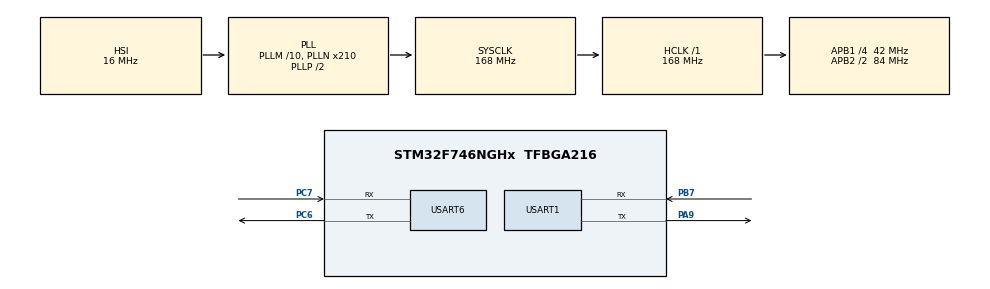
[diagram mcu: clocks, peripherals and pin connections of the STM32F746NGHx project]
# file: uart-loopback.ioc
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Mcu.Family=STM32F7
RCC.PLLSourceVirtual=RCC_PLLSOURCE_HSI
RCC.CortexFreq_Value=168000000
PC6.Signal=USART6_TX
RCC.APB1CLKDivider=RCC_HCLK_DIV4
RCC.SYSCLKSource=RCC_SYSCLKSOURCE_PLLCLK
ProjectManager.StackSize=0x400
USART1.VirtualMode-Asynchronous=VM_ASYNC
PA9.Mode=Asynchronous
ProjectManager.TargetToolchain=STM32CubeIDE
PC6.Mode=Asynchronous
RCC.HCLKFreq_Value=168000000
RCC.APB2TimFreq_Value=168000000
PA9.Signal=USART1_TX
PC7.Signal=USART6_RX
USART6.VirtualMode-Asynchronous=VM_ASYNC
RCC.USBFreq_Value=168000000
RCC.LSE_VALUE=32768
RCC.AHBFreq_Value=168000000
RCC.HSE_VALUE=25000000
board=STM32F746G-DISCO
RCC.VCOOutputFreq_Value=336000000
RCC.APB2Freq_Value=84000000
PB7.Signal=USART1_RX
Mcu.Name=STM32F746NGHx
RCC.SYSCLKFreq_VALUE=168000000
Mcu.Package=TFBGA216
PB7.Mode=Asynchronous
ProjectManager.HeapSize=0x200
RCC.HSI_VALUE=16000000
NVIC.PriorityGroup=NVIC_PRIORITYGROUP_4
RCC.APB2CLKDivider=RCC_HCLK_DIV2
RCC.PLLM=10
RCC.PLLN=210
RCC.APB1TimFreq_Value=84000000
PC7.Mode=Asynchronous
NVIC.USART1_IRQn=true\:0\:0\:false\:false\:true\:true\:true
RCC.APB1Freq_Value=42000000

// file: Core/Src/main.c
/* USER CODE BEGIN Header */
/**
  ******************************************************************************
  * @file           : main.c
  * @brief          : Main program body
  ******************************************************************************
  * @attention
  *
  * <h2><center>&copy; Copyright (c) 2021 STMicroelectronics.
  * All rights reserved.</center></h2>
  *
  * This software component is licensed by ST under BSD 3-Clause license,
  * the "License"; You may not use this file except in compliance with the
  * License. You may obtain a copy of the License at:
  *                        opensource.org/licenses/BSD-3-Clause
  *
  ******************************************************************************
  */
/* USER CODE END Header */
#include "main.h"

/* USER CODE BEGIN Includes */
#include <stdio.h>
/* USER CODE END Includes */

UART_HandleTypeDef huart1;
UART_HandleTypeDef huart6;

/* USER CODE BEGIN PV */
int data_count;
/* USER CODE END PV */

void SystemClock_Config(void);
static void MX_GPIO_Init(void);
static void MX_USART1_UART_Init(void);
static void MX_USART6_UART_Init(void);

/* USER CODE BEGIN 0 */
int _write(int file, char *ptr, int len)
{
    for(int i=0; i<len; i++)
    {
        ITM_SendChar((*ptr++));
    }
    return len;
}
/* USER CODE END 0 */

int main(void)
{
  /* USER CODE BEGIN 1 */
	uint8_t tx_data = 0xA;
	uint8_t rx_data;
  /* USER CODE END 1 */

  /* MCU Configuration--------------------------------------------------------*/

  /* Reset of all peripherals, Initializes the Flash interface and the Systick. */
  HAL_Init();

  /* Configure the system clock */
  SystemClock_Config();

  /* Initialize all configured peripherals */
  MX_GPIO_Init();
  MX_USART1_UART_Init();
  MX_USART6_UART_Init();

  /* Infinite loop */
  /* USER CODE BEGIN WHILE */
  while (1)
  {
	  rx_data = 0;
	  HAL_UART_Transmit(&huart6, (uint8_t*)&tx_data, 1, HAL_MAX_DELAY);
	  HAL_Delay(50);
	  HAL_UART_Receive(&huart6, (uint8_t*)&rx_data, 1, 500);
	  if (rx_data == tx_data)
	  {
		  HAL_UART_Transmit(&huart1, (uint8_t*)"OK\r\n", 4, HAL_MAX_DELAY);
	  }
	  else
	  {
		  HAL_UART_Transmit(&huart1, (uint8_t*)"NOK\r\n", 5, HAL_MAX_DELAY);
	  }
	  HAL_Delay(1000);
    /* USER CODE END WHILE */

  }
}

void SystemClock_Config(void)
{
  RCC_OscInitTypeDef RCC_OscInitStruct = {0};
  RCC_ClkInitTypeDef RCC_ClkInitStruct = {0};
  RCC_PeriphCLKInitTypeDef PeriphClkInitStruct = {0};

  /** Configure the main internal regulator output voltage
  */
  __HAL_RCC_PWR_CLK_ENABLE();
  __HAL_PWR_VOLTAGESCALING_CONFIG(PWR_REGULATOR_VOLTAGE_SCALE2);
  /** Initializes the RCC Oscillators according to the specified parameters
  * in the RCC_OscInitTypeDef structure.
  */
  RCC_OscInitStruct.OscillatorType = RCC_OSCILLATORTYPE_HSI;
  RCC_OscInitStruct.HSIState = RCC_HSI_ON;
  RCC_OscInitStruct.HSICalibrationValue = RCC_HSICALIBRATION_DEFAULT;
  RCC_OscInitStruct.PLL.PLLState = RCC_PLL_ON;
  RCC_OscInitStruct.PLL.PLLSource = RCC_PLLSOURCE_HSI;
  RCC_OscInitStruct.PLL.PLLM = 10;
  RCC_OscInitStruct.PLL.PLLN = 210;
  RCC_OscInitStruct.PLL.PLLP = RCC_PLLP_DIV2;
  RCC_OscInitStruct.PLL.PLLQ = 2;
  if (HAL_RCC_OscConfig(&RCC_OscInitStruct) != HAL_OK)
  {
    Error_Handler();
  }
  /** Initializes the CPU, AHB and APB buses clocks
  */
  RCC_ClkInitStruct.ClockType = RCC_CLOCKTYPE_HCLK|RCC_CLOCKTYPE_SYSCLK
                              |RCC_CLOCKTYPE_PCLK1|RCC_CLOCKTYPE_PCLK2;
  RCC_ClkInitStruct.SYSCLKSource = RCC_SYSCLKSOURCE_PLLCLK;
  RCC_ClkInitStruct.AHBCLKDivider = RCC_SYSCLK_DIV1;
  RCC_ClkInitStruct.APB1CLKDivider = RCC_HCLK_DIV4;
  RCC_ClkInitStruct.APB2CLKDivider = RCC_HCLK_DIV2;

  if (HAL_RCC_ClockConfig(&RCC_ClkInitStruct, FLASH_LATENCY_5) != HAL_OK)
  {
    Error_Handler();
  }
  PeriphClkInitStruct.PeriphClockSelection = RCC_PERIPHCLK_USART1|RCC_PERIPHCLK_USART6;
  PeriphClkInitStruct.Usart1ClockSelection = RCC_USART1CLKSOURCE_PCLK2;
  PeriphClkInitStruct.Usart6ClockSelection = RCC_USART6CLKSOURCE_PCLK2;
  if (HAL_RCCEx_PeriphCLKConfig(&PeriphClkInitStruct) != HAL_OK)
  {
    Error_Handler();
  }
}

static void MX_USART1_UART_Init(void)
{

  huart1.Instance = USART1;
  huart1.Init.BaudRate = 115200;
  huart1.Init.WordLength = UART_WORDLENGTH_8B;
  huart1.Init.StopBits = UART_STOPBITS_1;
  huart1.Init.Parity = UART_PARITY_NONE;
  huart1.Init.Mode = UART_MODE_TX_RX;
  huart1.Init.HwFlowCtl = UART_HWCONTROL_NONE;
  huart1.Init.OverSampling = UART_OVERSAMPLING_16;
  huart1.Init.OneBitSampling = UART_ONE_BIT_SAMPLE_DISABLE;
  huart1.AdvancedInit.AdvFeatureInit = UART_ADVFEATURE_NO_INIT;
  if (HAL_UART_Init(&huart1) != HAL_OK)
  {
    Error_Handler();
  }

}

static void MX_USART6_UART_Init(void)
{

  huart6.Instance = USART6;
  huart6.Init.BaudRate = 115200;
  huart6.Init.WordLength = UART_WORDLENGTH_8B;
  huart6.Init.StopBits = UART_STOPBITS_1;
  huart6.Init.Parity = UART_PARITY_NONE;
  huart6.Init.Mode = UART_MODE_TX_RX;
  huart6.Init.HwFlowCtl = UART_HWCONTROL_NONE;
  huart6.Init.OverSampling = UART_OVERSAMPLING_16;
  huart6.Init.OneBitSampling = UART_ONE_BIT_SAMPLE_DISABLE;
  huart6.AdvancedInit.AdvFeatureInit = UART_ADVFEATURE_NO_INIT;
  if (HAL_UART_Init(&huart6) != HAL_OK)
  {
    Error_Handler();
  }

}

static void MX_GPIO_Init(void)
{

  /* GPIO Ports Clock Enable */
  __HAL_RCC_GPIOB_CLK_ENABLE();
  __HAL_RCC_GPIOA_CLK_ENABLE();
  __HAL_RCC_GPIOC_CLK_ENABLE();

}

void Error_Handler(void)
{
  __disable_irq();
  while (1)
  {
  }
}

/************************ (C) COPYRIGHT STMicroelectronics *****END OF FILE****/
